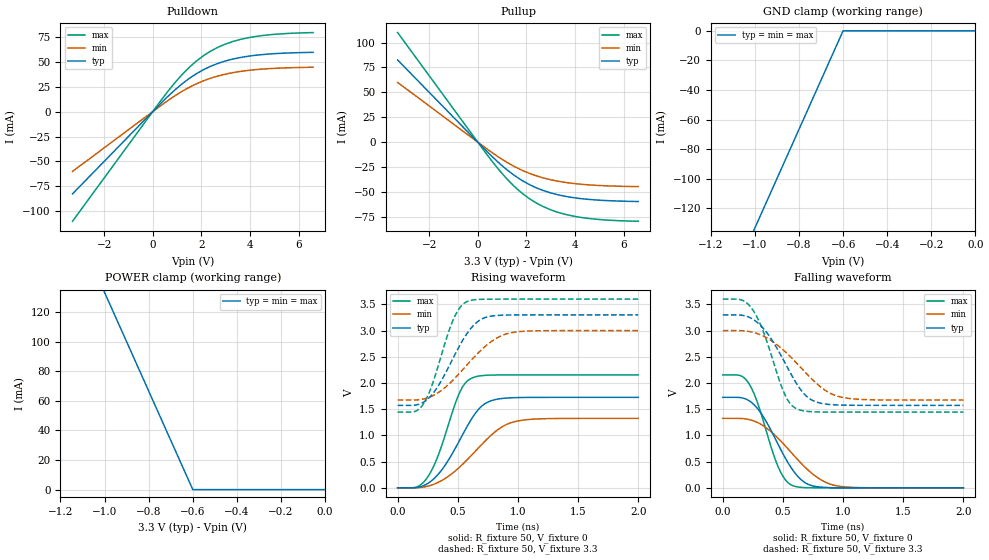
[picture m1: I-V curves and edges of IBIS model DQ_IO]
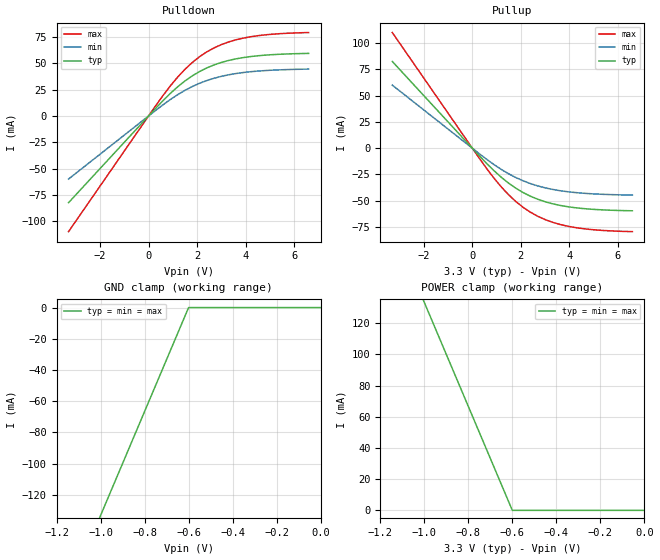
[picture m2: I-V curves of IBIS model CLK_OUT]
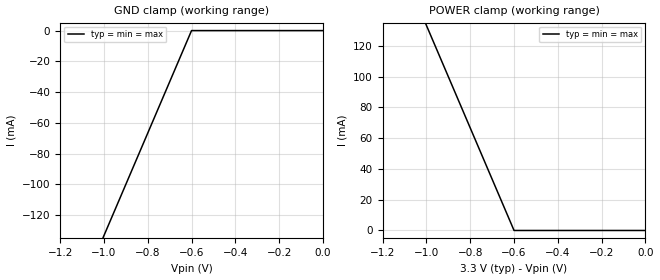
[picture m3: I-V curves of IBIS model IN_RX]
[IBIS Ver]   5.1
| Atrium SI test fixture. Synthetic data generated by tests/fixtures/si/make-demo-ibis.cjs.
| Released under CC0 1.0: no rights reserved. Not a model of any real part.
[File Name]  atrium-demo.ibs
[File Rev]   1.0
[Date]   2026-11-19
[Source]   Closed-form device (tanh-saturated 40 ohm driver, raised-cosine edge).
[Notes]   Pin 1 uses two-waveform switching data; pin 2 uses [Ramp] only;
   pin 6 is a model selector. Corners: min = slow/weak, max = fast/strong.
[Disclaimer] For testing only.
[Copyright]  CC0 1.0
[Component]   ATRIUM_DEMO
[Manufacturer]  Atrium test data
[Package]
| variable  typ   min   max
R_pkg   0.20   0.15   0.25
L_pkg   2.0nH   1.5nH   2.5nH
C_pkg   0.40pF   0.30pF   0.50pF
[Pin]  signal_name  model_name  R_pin  L_pin  C_pin
1   DQ0   DQ_IO   0.25   2.2nH  0.45pF
2   CLK   CLK_OUT
3   RX   IN_RX
4   VDD   POWER
5   VSS   GND
6   SEL0   DQ_SEL
7   NC1   NC
[Model Selector] DQ_SEL
DQ_IO   Full drive (40 ohm), two-waveform data
CLK_OUT   Ramp-only drive
| Models and submodels in the file (3): DQ_IO (I/O), CLK_OUT (Output), IN_RX (Input)
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[Model] DQ_IO
Model_type I/O
Polarity Non-Inverting
Enable Active-High
Vinl = 0.8
Vinh = 2.0
Vmeas = 1.65
Vref = 0
Rref = 1k
Cref = 0
| variable   typ   min   max
C_comp   3.0pF   3.5pF   2.5pF
[Voltage Range]  3.3  3.0  3.6
[Temperature Range]  25  85  0
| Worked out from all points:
|   slope of the pulldown table from 0 to 0.495 V, typ, clamps not added: 40.7 ohm
|   slope of the pullup table from 0 to 0.495 V, typ, clamps not added: 40.7 ohm
|   rising waveform, R_fixture 50, V_fixture 0: 20-80 % time 266ps typ, 358ps min, 195ps max; typ from 0 V to 1.73 V
|   rising waveform, R_fixture 50, V_fixture 3.3: 20-80 % time 250ps typ, 340ps min, 183ps max; typ from 1.57 V to 3.3 V
|   falling waveform, R_fixture 50, V_fixture 0: 20-80 % time 250ps typ, 340ps min, 183ps max; typ from 1.73 V to 0 V
|   falling waveform, R_fixture 50, V_fixture 3.3: 20-80 % time 266ps typ, 358ps min, 195ps max; typ from 3.3 V to 1.57 V
[Pulldown]
| V  I(typ)  I(min)  I(max)
-3.3V     -82.5mA    -60mA      -110mA
600mV     14.69mA    10.7mA     19.59mA
1.2V      27.73mA    20.25mA    36.97mA
1.8V      38.11mA    27.96mA    50.81mA
2.1V      42.23mA    31.06mA    56.31mA
2.7V      48.56mA    35.87mA    64.74mA
3.6V      54.31mA    40.35mA    72.41mA
4.8V      57.84mA    43.18mA    77.12mA
6.6V      59.51mA    44.57mA    79.35mA
[Pullup]
| Vcc-V  I(typ)  I(min)  I(max)
-3.3V     82.5mA     60mA       110mA
600mV     -14.69mA   -10.7mA    -19.59mA
1.2V      -27.73mA   -20.25mA   -36.97mA
1.8V      -38.11mA   -27.96mA   -50.81mA
2.1V      -42.23mA   -31.06mA   -56.31mA
2.7V      -48.56mA   -35.87mA   -64.74mA
3.6V      -54.31mA   -40.35mA   -72.41mA
4.8V      -57.84mA   -43.18mA   -77.12mA
6.6V      -59.51mA   -44.57mA   -79.35mA
[GND Clamp]
-3.3V     -900mA     -900mA     -900mA
-3V       -800mA     -800mA     -800mA
-2.7V     -700mA     -700mA     -700mA
-2.4V     -600mA     -600mA     -600mA
-2.1V     -500mA     -500mA     -500mA
-1.8V     -400mA     -400mA     -400mA
-1.5V     -300mA     -300mA     -300mA
-1.2V     -200mA     -200mA     -200mA
-900mV    -100mA     -100mA     -100mA
-600mV    0A         0A         0A
-300mV    0A         0A         0A
0V        0A         0A         0A
[POWER Clamp]
| Vcc-V  I(typ)  I(min)  I(max)
-3.3V     900mA      900mA      900mA
-3V       800mA      800mA      800mA
-2.7V     700mA      700mA      700mA
-2.4V     600mA      600mA      600mA
-2.1V     500mA      500mA      500mA
-1.8V     400mA      400mA      400mA
-1.5V     300mA      300mA      300mA
-1.2V     200mA      200mA      200mA
-900mV    100mA      100mA      100mA
-600mV    0A         0A         0A
-300mV    0A         0A         0A
0V        0A         0A         0A
[Ramp]
| variable  typ   min   max
dV/dt_r   1.98/0.433n  1.80/0.577n  2.16/0.325n
dV/dt_f   1.98/0.433n  1.80/0.577n  2.16/0.325n
R_load = 50
[Rising Waveform]
R_fixture = 50
V_fixture = 0
V_fixture_min = 0
V_fixture_max = 0
| time  V(typ)  V(min)  V(max)   (50 ohm to GND)
0s        0V         0V         0V
160ps     7.008mV    2.551mV    18.88mV
240ps     69.16mV    26.67mV    173.5mV
340ps     266.3mV    107.8mV    636.6mV
520ps     928.6mV    406mV      1.842V
620ps     1.335V     636.1mV    2.097V
760ps     1.647V     967.4mV    2.15V
880ps     1.708V     1.18V      2.154V
980ps     1.721V     1.267V     2.154V
2ns       1.726V     1.326V     2.155V
[Rising Waveform]
R_fixture = 50
V_fixture = 3.3
V_fixture_min = 3
V_fixture_max = 3.6
| time  V(typ)  V(min)  V(max)   (50 ohm to VCC)
0s        1.574V     1.674V     1.445V
140ps     1.577V     1.675V     1.454V
220ps     1.64V      1.698V     1.62V
320ps     1.884V     1.792V     2.194V
460ps     2.47V      2.055V     3.197V
520ps     2.732V     2.201V     3.446V
580ps     2.955V     2.354V     3.556V
720ps     3.242V     2.683V     3.598V
940ps     3.298V     2.958V     3.6V
2ns       3.3V       3V         3.6V
[Falling Waveform]
R_fixture = 50
V_fixture = 0
V_fixture_min = 0
V_fixture_max = 0
| time  V(typ)  V(min)  V(max)   (50 ohm to GND)
0s        1.726V     1.326V     2.155V
140ps     1.723V     1.325V     2.146V
220ps     1.66V      1.302V     1.98V
320ps     1.416V     1.208V     1.406V
460ps     830mV      945.1mV    403.1mV
520ps     567.6mV    799.2mV    153.5mV
580ps     344.6mV    646.2mV    43.8mV
720ps     57.52mV    317mV      2.21mV
940ps     2.121mV    42.38mV    20.23uV
2ns       0V         400nV      0V
[Falling Waveform]
R_fixture = 50
V_fixture = 3.3
V_fixture_min = 3
V_fixture_max = 3.6
| time  V(typ)  V(min)  V(max)   (50 ohm to VCC)
0s        3.3V       3V         3.6V
160ps     3.293V     2.997V     3.581V
240ps     3.231V     2.973V     3.426V
340ps     3.034V     2.892V     2.963V
520ps     2.371V     2.594V     1.758V
620ps     1.965V     2.364V     1.503V
760ps     1.653V     2.033V     1.45V
880ps     1.592V     1.82V      1.446V
980ps     1.579V     1.733V     1.446V
2ns       1.574V     1.674V     1.445V
[Model] CLK_OUT
Model_type Output
Polarity Non-Inverting
Enable Active-High
Vinl = 0.8
Vinh = 2.0
Vmeas = 1.65
Vref = 0
Rref = 1k
Cref = 0
| variable   typ   min   max
C_comp   3.0pF   3.5pF   2.5pF
[Voltage Range]  3.3  3.0  3.6
[Temperature Range]  25  85  0
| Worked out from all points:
|   slope of the pulldown table from 0 to 0.495 V, typ, clamps not added: 40.7 ohm
|   slope of the pullup table from 0 to 0.495 V, typ, clamps not added: 40.7 ohm
[Pulldown]
| V  I(typ)  I(min)  I(max)
-3.3V     -82.5mA    -60mA      -110mA
600mV     14.69mA    10.7mA     19.59mA
1.2V      27.73mA    20.25mA    36.97mA
1.8V      38.11mA    27.96mA    50.81mA
2.1V      42.23mA    31.06mA    56.31mA
2.7V      48.56mA    35.87mA    64.74mA
3.6V      54.31mA    40.35mA    72.41mA
4.8V      57.84mA    43.18mA    77.12mA
6.6V      59.51mA    44.57mA    79.35mA
[Pullup]
| Vcc-V  I(typ)  I(min)  I(max)
-3.3V     82.5mA     60mA       110mA
600mV     -14.69mA   -10.7mA    -19.59mA
1.2V      -27.73mA   -20.25mA   -36.97mA
1.8V      -38.11mA   -27.96mA   -50.81mA
2.1V      -42.23mA   -31.06mA   -56.31mA
2.7V      -48.56mA   -35.87mA   -64.74mA
3.6V      -54.31mA   -40.35mA   -72.41mA
4.8V      -57.84mA   -43.18mA   -77.12mA
6.6V      -59.51mA   -44.57mA   -79.35mA
[GND Clamp]
-3.3V     -900mA     -900mA     -900mA
-3V       -800mA     -800mA     -800mA
-2.7V     -700mA     -700mA     -700mA
-2.4V     -600mA     -600mA     -600mA
-2.1V     -500mA     -500mA     -500mA
-1.8V     -400mA     -400mA     -400mA
-1.5V     -300mA     -300mA     -300mA
-1.2V     -200mA     -200mA     -200mA
-900mV    -100mA     -100mA     -100mA
-600mV    0A         0A         0A
-300mV    0A         0A         0A
0V        0A         0A         0A
[POWER Clamp]
| Vcc-V  I(typ)  I(min)  I(max)
-3.3V     900mA      900mA      900mA
-3V       800mA      800mA      800mA
-2.7V     700mA      700mA      700mA
-2.4V     600mA      600mA      600mA
-2.1V     500mA      500mA      500mA
-1.8V     400mA      400mA      400mA
-1.5V     300mA      300mA      300mA
-1.2V     200mA      200mA      200mA
-900mV    100mA      100mA      100mA
-600mV    0A         0A         0A
-300mV    0A         0A         0A
0V        0A         0A         0A
[Ramp]
| variable  typ   min   max
dV/dt_r   1.98/0.433n  1.80/0.577n  2.16/0.325n
dV/dt_f   1.98/0.433n  1.80/0.577n  2.16/0.325n
R_load = 50
[Model] IN_RX
Model_type Input
Vinl = 0.8
Vinh = 2.0
C_comp  2.0pF  2.4pF  1.6pF
[Voltage Range]  3.3  3.0  3.6
[GND Clamp]
-3.3V     -900mA     -900mA     -900mA
-3V       -800mA     -800mA     -800mA
-2.7V     -700mA     -700mA     -700mA
-2.4V     -600mA     -600mA     -600mA
-2.1V     -500mA     -500mA     -500mA
-1.8V     -400mA     -400mA     -400mA
-1.5V     -300mA     -300mA     -300mA
-1.2V     -200mA     -200mA     -200mA
-900mV    -100mA     -100mA     -100mA
-600mV    0A         0A         0A
-300mV    0A         0A         0A
0V        0A         0A         0A
[POWER Clamp]
-3.3V     900mA      900mA      900mA
-3V       800mA      800mA      800mA
-2.7V     700mA      700mA      700mA
-2.4V     600mA      600mA      600mA
-2.1V     500mA      500mA      500mA
-1.8V     400mA      400mA      400mA
-1.5V     300mA      300mA      300mA
-1.2V     200mA      200mA      200mA
-900mV    100mA      100mA      100mA
-600mV    0A         0A         0A
-300mV    0A         0A         0A
0V        0A         0A         0A
